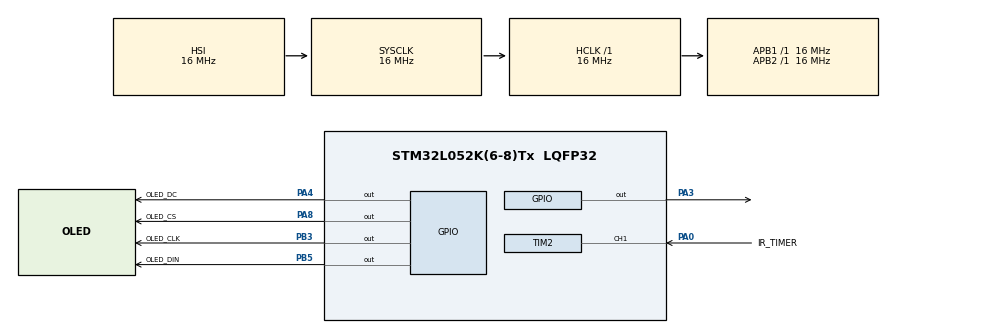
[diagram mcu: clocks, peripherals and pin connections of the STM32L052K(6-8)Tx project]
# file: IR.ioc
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Mcu.Family=STM32L0
RCC.MSI_VALUE=2097000
SH.S_TIM2_CH1.0=TIM2_CH1,Input_Capture1_from_TI1
TIM2.Channel-Input_Capture1_from_TI1=TIM_CHANNEL_1
NVIC.TIM6_DAC_IRQn=true\:0\:0\:false\:false\:true\:true\:true
PA0.GPIO_Label=IR_TIMER
TIM6.Prescaler=16000-1
VP_TIM6_VS_ClockSourceINT.Mode=Enable_Timer
RCC.SYSCLKSource=RCC_SYSCLKSOURCE_HSI
ProjectManager.StackSize=0x400
RCC.HSI16_VALUE=16000000
PA8.GPIO_Label=OLED_CS
TIM2.ICPolarity_CH1=TIM_INPUTCHANNELPOLARITY_FALLING
ProjectManager.TargetToolchain=MDK-ARM V5.27
RCC.HCLKFreq_Value=16000000
RCC.APB2TimFreq_Value=16000000
RCC.LSE_VALUE=32768
RCC.AHBFreq_Value=16000000
board=custom
RCC.VCOOutputFreq_Value=48000000
RCC.APB2Freq_Value=16000000
VP_TIM2_VS_ClockSourceINT.Mode=Internal
NVIC.TIM2_IRQn=true\:0\:0\:false\:false\:true\:true\:true
PA8.Signal=GPIO_Output
TIM6.Period=5000-1
Mcu.Name=STM32L052K(6-8)Tx
PA0.Signal=S_TIM2_CH1
PB3.Signal=GPIO_Output
PA4.Signal=GPIO_Output
RCC.SYSCLKFreq_VALUE=16000000
Mcu.Package=LQFP32
PB5.Signal=GPIO_Output
TIM2.Prescaler=16-1
ProjectManager.HeapSize=0x200
RCC.HSI_VALUE=16000000
PB5.GPIO_Label=OLED_DIN
RCC.APB1TimFreq_Value=16000000
RCC.APB1Freq_Value=16000000
PA4.GPIO_Label=OLED_DC
RCC.HSI48_VALUE=48000000
PA3.Signal=GPIO_Output
PB3.GPIO_Label=OLED_CLK

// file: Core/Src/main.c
/* USER CODE BEGIN Header */
/**
  ******************************************************************************
  * @file           : main.c
  * @brief          : Main program body
  ******************************************************************************
  * @attention
  *
  * <h2><center>&copy; Copyright (c) 2023 STMicroelectronics.
  * All rights reserved.</center></h2>
  *
  * This software component is licensed by ST under BSD 3-Clause license,
  * the "License"; You may not use this file except in compliance with the
  * License. You may obtain a copy of the License at:
  *                        opensource.org/licenses/BSD-3-Clause
  *
  ******************************************************************************
  */
/* USER CODE END Header */
#include "main.h"

/* USER CODE BEGIN Includes */
#include "OLED.h"
#include "ssd1306_fonts.h"
#include "IR_10.h"
#include <stdio.h>
#include <string.h>
#include <math.h>

/* USER CODE END Includes */

TIM_HandleTypeDef htim2;
TIM_HandleTypeDef htim6;

void SystemClock_Config(void);
static void MX_GPIO_Init(void);
static void MX_TIM6_Init(void);
static void MX_TIM2_Init(void);

/* USER CODE BEGIN 0 */

void user_define_func(void)
{
	OLED_Clear();
	oled_str(result, 0, 0, ssd1306xled_font6x8);
	oled_RefreshGram();
}

uint8_t data_bit = 32;
void HAL_TIM_IC_CaptureCallback(TIM_HandleTypeDef *htim)
{
	if (htim->Channel == HAL_TIM_ACTIVE_CHANNEL_1)
	{
			signal_received(htim, data_bit);
	}
}

void HAL_TIM_PeriodElapsedCallback(TIM_HandleTypeDef *htim)
{

}
/* USER CODE END 0 */

int main(void)
{

  /* MCU Configuration--------------------------------------------------------*/

  /* Reset of all peripherals, Initializes the Flash interface and the Systick. */
  HAL_Init();

  /* Configure the system clock */
  SystemClock_Config();

  /* Initialize all configured peripherals */
  MX_GPIO_Init();
  MX_TIM6_Init();
  MX_TIM2_Init();
  /* USER CODE BEGIN 2 */
	oled_init();
	HAL_TIM_IC_Start_IT(&htim2, TIM_CHANNEL_1);
	HAL_TIM_Base_Start_IT(&htim6);

	result[0] = '\0';

  /* USER CODE END 2 */

  /* Infinite loop */
  /* USER CODE BEGIN WHILE */
  while (1)
  {
    // Convert uint8_t to a string

    /* USER CODE END WHILE */

  }
}

void SystemClock_Config(void)
{
  RCC_OscInitTypeDef RCC_OscInitStruct = {0};
  RCC_ClkInitTypeDef RCC_ClkInitStruct = {0};

  /** Configure the main internal regulator output voltage
  */
  __HAL_PWR_VOLTAGESCALING_CONFIG(PWR_REGULATOR_VOLTAGE_SCALE1);
  /** Initializes the RCC Oscillators according to the specified parameters
  * in the RCC_OscInitTypeDef structure.
  */
  RCC_OscInitStruct.OscillatorType = RCC_OSCILLATORTYPE_HSI;
  RCC_OscInitStruct.HSIState = RCC_HSI_ON;
  RCC_OscInitStruct.HSICalibrationValue = RCC_HSICALIBRATION_DEFAULT;
  RCC_OscInitStruct.PLL.PLLState = RCC_PLL_NONE;
  if (HAL_RCC_OscConfig(&RCC_OscInitStruct) != HAL_OK)
  {
    Error_Handler();
  }
  /** Initializes the CPU, AHB and APB buses clocks
  */
  RCC_ClkInitStruct.ClockType = RCC_CLOCKTYPE_HCLK|RCC_CLOCKTYPE_SYSCLK
                              |RCC_CLOCKTYPE_PCLK1|RCC_CLOCKTYPE_PCLK2;
  RCC_ClkInitStruct.SYSCLKSource = RCC_SYSCLKSOURCE_HSI;
  RCC_ClkInitStruct.AHBCLKDivider = RCC_SYSCLK_DIV1;
  RCC_ClkInitStruct.APB1CLKDivider = RCC_HCLK_DIV1;
  RCC_ClkInitStruct.APB2CLKDivider = RCC_HCLK_DIV1;

  if (HAL_RCC_ClockConfig(&RCC_ClkInitStruct, FLASH_LATENCY_0) != HAL_OK)
  {
    Error_Handler();
  }
}

static void MX_TIM2_Init(void)
{

  TIM_ClockConfigTypeDef sClockSourceConfig = {0};
  TIM_MasterConfigTypeDef sMasterConfig = {0};
  TIM_IC_InitTypeDef sConfigIC = {0};

  htim2.Instance = TIM2;
  htim2.Init.Prescaler = 16-1;
  htim2.Init.CounterMode = TIM_COUNTERMODE_UP;
  htim2.Init.Period = 65535;
  htim2.Init.ClockDivision = TIM_CLOCKDIVISION_DIV1;
  htim2.Init.AutoReloadPreload = TIM_AUTORELOAD_PRELOAD_DISABLE;
  if (HAL_TIM_Base_Init(&htim2) != HAL_OK)
  {
    Error_Handler();
  }
  sClockSourceConfig.ClockSource = TIM_CLOCKSOURCE_INTERNAL;
  if (HAL_TIM_ConfigClockSource(&htim2, &sClockSourceConfig) != HAL_OK)
  {
    Error_Handler();
  }
  if (HAL_TIM_IC_Init(&htim2) != HAL_OK)
  {
    Error_Handler();
  }
  sMasterConfig.MasterOutputTrigger = TIM_TRGO_RESET;
  sMasterConfig.MasterSlaveMode = TIM_MASTERSLAVEMODE_DISABLE;
  if (HAL_TIMEx_MasterConfigSynchronization(&htim2, &sMasterConfig) != HAL_OK)
  {
    Error_Handler();
  }
  sConfigIC.ICPolarity = TIM_INPUTCHANNELPOLARITY_FALLING;
  sConfigIC.ICSelection = TIM_ICSELECTION_DIRECTTI;
  sConfigIC.ICPrescaler = TIM_ICPSC_DIV1;
  sConfigIC.ICFilter = 0;
  if (HAL_TIM_IC_ConfigChannel(&htim2, &sConfigIC, TIM_CHANNEL_1) != HAL_OK)
  {
    Error_Handler();
  }

}

static void MX_TIM6_Init(void)
{

  TIM_MasterConfigTypeDef sMasterConfig = {0};

  htim6.Instance = TIM6;
  htim6.Init.Prescaler = 16000-1;
  htim6.Init.CounterMode = TIM_COUNTERMODE_UP;
  htim6.Init.Period = 5000-1;
  htim6.Init.AutoReloadPreload = TIM_AUTORELOAD_PRELOAD_DISABLE;
  if (HAL_TIM_Base_Init(&htim6) != HAL_OK)
  {
    Error_Handler();
  }
  sMasterConfig.MasterOutputTrigger = TIM_TRGO_RESET;
  sMasterConfig.MasterSlaveMode = TIM_MASTERSLAVEMODE_DISABLE;
  if (HAL_TIMEx_MasterConfigSynchronization(&htim6, &sMasterConfig) != HAL_OK)
  {
    Error_Handler();
  }

}

static void MX_GPIO_Init(void)
{
  GPIO_InitTypeDef GPIO_InitStruct = {0};

  /* GPIO Ports Clock Enable */
  __HAL_RCC_GPIOA_CLK_ENABLE();
  __HAL_RCC_GPIOB_CLK_ENABLE();

  /*Configure GPIO pin Output Level */
  HAL_GPIO_WritePin(GPIOA, GPIO_PIN_3|OLED_DC_Pin|OLED_CS_Pin, GPIO_PIN_RESET);

  /*Configure GPIO pin Output Level */
  HAL_GPIO_WritePin(GPIOB, OLED_CLK_Pin|OLED_DIN_Pin, GPIO_PIN_RESET);

  /*Configure GPIO pins : PA3 OLED_DC_Pin OLED_CS_Pin */
  GPIO_InitStruct.Pin = GPIO_PIN_3|OLED_DC_Pin|OLED_CS_Pin;
  GPIO_InitStruct.Mode = GPIO_MODE_OUTPUT_PP;
  GPIO_InitStruct.Pull = GPIO_NOPULL;
  GPIO_InitStruct.Speed = GPIO_SPEED_FREQ_LOW;
  HAL_GPIO_Init(GPIOA, &GPIO_InitStruct);

  /*Configure GPIO pins : OLED_CLK_Pin OLED_DIN_Pin */
  GPIO_InitStruct.Pin = OLED_CLK_Pin|OLED_DIN_Pin;
  GPIO_InitStruct.Mode = GPIO_MODE_OUTPUT_PP;
  GPIO_InitStruct.Pull = GPIO_NOPULL;
  GPIO_InitStruct.Speed = GPIO_SPEED_FREQ_LOW;
  HAL_GPIO_Init(GPIOB, &GPIO_InitStruct);

}

/* USER CODE BEGIN 4 */
// Timer input capture callback

/* USER CODE END 4 */

void Error_Handler(void)
{
}

/************************ (C) COPYRIGHT STMicroelectronics *****END OF FILE****/
